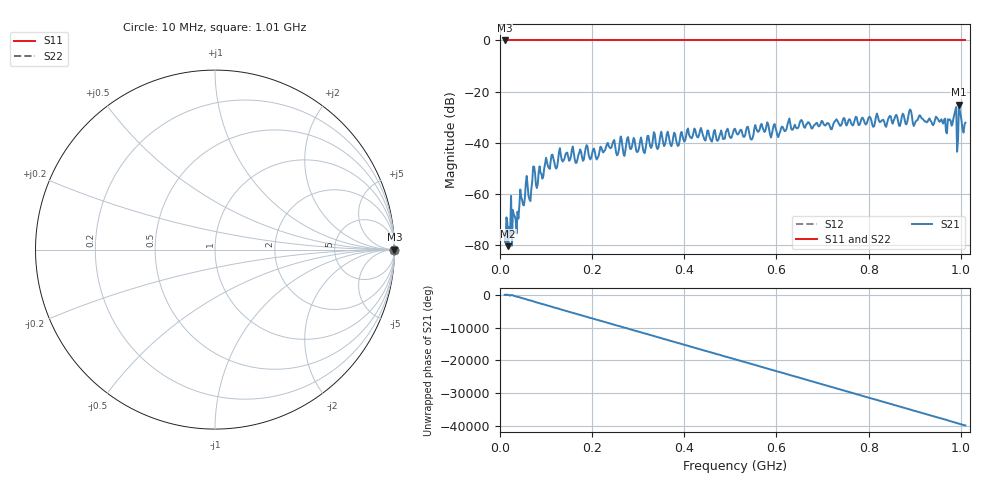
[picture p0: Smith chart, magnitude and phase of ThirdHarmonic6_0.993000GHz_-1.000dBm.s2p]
! 8/16/2025 7:54:00 AM
! C:\ANRITSUVNA\TEMP\TEMP.S2P
! CHANNEL.1
! TR.MEASUREMENT
! RAW.DATA
! RF.CORRECTION.OFF
! AVERAGING.OFF
! IF.BANDWIDTH: 5KHZ
! SWEEPTYPE:  FREQ.SWEEP(Linear)
! Reference Plane Port Info
! PORT:  PORT1  PORT2
! DISTANCE:  0  m  0  m
! TIME:  0  s  0  s
! PHASE.OFFSET:  0  deg.  0  deg.
! LOSS:  0  dB  0  dB
! REF.LOSS:  0  dB  0  dB
! REF.FREQ:  0  Hz  0  Hz
! Power Info
! POWER:  -20  dBm  -20  dBm
! EFF.POWER:  -20  dBm  -20  dBm
! SOURCE.ATTEN:  0  dB  0  dB
! TEST.ATTEN:  0  dB  0  dB
# GHZ S RI R 50.0
! FREQ.GHZ  S11RE  S11IM  S21RE  S21IM  S12RE  S12IM  S22RE  S22IM
!; PortSelection: Port_12
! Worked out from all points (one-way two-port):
!   501 points, 10 MHz to 1.01 GHz, reference 50 ohm
!   highest |S21| = -25.12 dB at 996 MHz (marker M1); lowest = -80.4 dB at 18 MHz (marker M2)
!   lowest |S11| = 0.0 dB at 10 MHz (marker M3)
!   |S11| at or under -10 dB: nowhere
!   |S22| runs from 0.0 to 0.0 dB; largest |S21 - S12| = 1
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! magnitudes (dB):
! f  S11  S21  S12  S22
! 10 MHz  0.0  -75.0  0.0  0.0
! 18 MHz  0.0  -80.4  0.0  0.0
! 38 MHz  0.0  -66.9  0.0  0.0
! 58 MHz  0.0  -53.0  0.0  0.0
! 66 MHz  0.0  -62.8  0.0  0.0
! 72 MHz  0.0  -49.3  0.0  0.0
! 80 MHz  0.0  -57.7  0.0  0.0
! 130 MHz  0.0  -42.1  0.0  0.0
! 178 MHz  0.0  -45.6  0.0  0.0
! 344 MHz  0.0  -41.7  0.0  0.0
! 510 MHz  0.0  -34.5  0.0  0.0
! 546 MHz  0.0  -38.8  0.0  0.0
! 568 MHz  0.0  -32.6  0.0  0.0
! 678 MHz  0.0  -34.3  0.0  0.0
! 844 MHz  0.0  -30.1  0.0  0.0
! 890 MHz  0.0  -27.0  0.0  0.0
! 900 MHz  0.0  -32.6  0.0  0.0
! 966 MHz  0.0  -30.6  0.0  0.0
! 986 MHz  0.0  -29.0  0.0  0.0
! 996 MHz  0.0  -25.1  0.0  0.0
! 1 GHz  0.0  -29.4  0.0  0.0
! 1.01 GHz  0.0  -32.1  0.0  0.0
